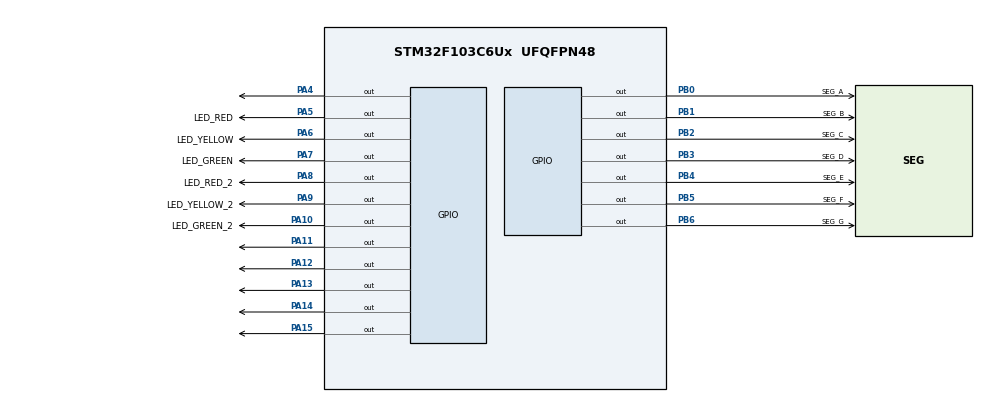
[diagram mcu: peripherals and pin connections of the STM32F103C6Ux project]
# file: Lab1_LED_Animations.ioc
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Mcu.Family=STM32F1
Mcu.Name=STM32F103C6Ux
Mcu.Package=UFQFPN48
NVIC.PriorityGroup=NVIC_PRIORITYGROUP_4
PA10.GPIO_Label=LED_GREEN_2
PA10.Signal=GPIO_Output
PA11.Signal=GPIO_Output
PA12.Signal=GPIO_Output
PA13.Signal=GPIO_Output
PA14.Signal=GPIO_Output
PA15.Signal=GPIO_Output
PA4.Signal=GPIO_Output
PA5.GPIO_Label=LED_RED
PA5.Signal=GPIO_Output
PA6.GPIO_Label=LED_YELLOW
PA6.Signal=GPIO_Output
PA7.GPIO_Label=LED_GREEN
PA7.Signal=GPIO_Output
PA8.GPIO_Label=LED_RED_2
PA8.Signal=GPIO_Output
PA9.GPIO_Label=LED_YELLOW_2
PA9.Signal=GPIO_Output
PB0.GPIO_Label=SEG_A
PB0.Signal=GPIO_Output
PB1.GPIO_Label=SEG_B
PB1.Signal=GPIO_Output
PB2.GPIO_Label=SEG_C
PB2.Signal=GPIO_Output
PB3.GPIO_Label=SEG_D
PB3.Signal=GPIO_Output
PB4.GPIO_Label=SEG_E
PB4.Signal=GPIO_Output
PB5.GPIO_Label=SEG_F
PB5.Signal=GPIO_Output
PB6.GPIO_Label=SEG_G
PB6.Signal=GPIO_Output
ProjectManager.HeapSize=0x200
ProjectManager.StackSize=0x400
ProjectManager.TargetToolchain=STM32CubeIDE
RCC.APB1Freq_Value=8000000
RCC.APB2Freq_Value=8000000
VP_SYS_VS_ND.Mode=No_Debug
board=custom

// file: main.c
/* USER CODE BEGIN Header */
/**
  ******************************************************************************
  * @file           : main.c
  * @brief          : Main program body
  ******************************************************************************
  * @attention
  *
  * <h2><center>&copy; Copyright (c) 2026 STMicroelectronics.
  * All rights reserved.</center></h2>
  *
  * This software component is licensed by ST under BSD 3-Clause license,
  * the "License"; You may not use this file except in compliance with the
  * License. You may obtain a copy of the License at:
  *                        opensource.org/licenses/BSD-3-Clause
  *
  ******************************************************************************
  */
/* USER CODE END Header */
#include "main.h"

void SystemClock_Config(void);
static void MX_GPIO_Init(void);
/* USER CODE BEGIN PFP */
void run_exercise_1(void);
void run_exercise_2(void);
void run_exercise_3(void);
void display7SEG(int num);
void run_exercise_4(void);
void set_traffic_lights(uint8_t red1, uint8_t yel1, uint8_t gre1, uint8_t red2, uint8_t yel2, uint8_t gre2);
void run_exercise_5(void);
void run_exercise_6(void);
void clearAllClock(void);
void setNumberOnClock(int num);
void clearNumberOnClock(int num);
void run_exercise_7(void);
void run_exercise_8(void);
void run_exercise_9(void);
void run_exercise_10(void);
/* USER CODE END PFP */

int main(void)
{

  /* MCU Configuration--------------------------------------------------------*/

  /* Reset of all peripherals, Initializes the Flash interface and the Systick. */
  HAL_Init();

  /* Configure the system clock */
  SystemClock_Config();

  /* Initialize all configured peripherals */
  MX_GPIO_Init();

  /* Infinite loop */
  /* USER CODE BEGIN WHILE */
  while (1)
  {
	  //run_exercise_1();
	  //run_exercise_2();
	  //run_exercise_3();
	  //run_exercise_4();
	  //run_exercise_5();
	  //run_exercise_6();
	  //run_exercise_7();
	  //run_exercise_8();
	  //run_exercise_9();
	  run_exercise_10();

    /* USER CODE END WHILE */

  }
}

void SystemClock_Config(void)
{
  RCC_OscInitTypeDef RCC_OscInitStruct = {0};
  RCC_ClkInitTypeDef RCC_ClkInitStruct = {0};

  /** Initializes the RCC Oscillators according to the specified parameters
  * in the RCC_OscInitTypeDef structure.
  */
  RCC_OscInitStruct.OscillatorType = RCC_OSCILLATORTYPE_HSI;
  RCC_OscInitStruct.HSIState = RCC_HSI_ON;
  RCC_OscInitStruct.HSICalibrationValue = RCC_HSICALIBRATION_DEFAULT;
  RCC_OscInitStruct.PLL.PLLState = RCC_PLL_NONE;
  if (HAL_RCC_OscConfig(&RCC_OscInitStruct) != HAL_OK)
  {
    Error_Handler();
  }
  /** Initializes the CPU, AHB and APB buses clocks
  */
  RCC_ClkInitStruct.ClockType = RCC_CLOCKTYPE_HCLK|RCC_CLOCKTYPE_SYSCLK
                              |RCC_CLOCKTYPE_PCLK1|RCC_CLOCKTYPE_PCLK2;
  RCC_ClkInitStruct.SYSCLKSource = RCC_SYSCLKSOURCE_HSI;
  RCC_ClkInitStruct.AHBCLKDivider = RCC_SYSCLK_DIV1;
  RCC_ClkInitStruct.APB1CLKDivider = RCC_HCLK_DIV1;
  RCC_ClkInitStruct.APB2CLKDivider = RCC_HCLK_DIV1;

  if (HAL_RCC_ClockConfig(&RCC_ClkInitStruct, FLASH_LATENCY_0) != HAL_OK)
  {
    Error_Handler();
  }
}

static void MX_GPIO_Init(void)
{
  GPIO_InitTypeDef GPIO_InitStruct = {0};

  /* GPIO Ports Clock Enable */
  __HAL_RCC_GPIOA_CLK_ENABLE();
  __HAL_RCC_GPIOB_CLK_ENABLE();

  /*Configure GPIO pin Output Level */
  HAL_GPIO_WritePin(GPIOA, GPIO_PIN_4|LED_RED_Pin|LED_YELLOW_Pin|LED_GREEN_Pin
                          |LED_RED_2_Pin|LED_YELLOW_2_Pin|LED_GREEN_2_Pin|GPIO_PIN_11
                          |GPIO_PIN_12|GPIO_PIN_13|GPIO_PIN_14|GPIO_PIN_15, GPIO_PIN_RESET);

  /*Configure GPIO pin Output Level */
  HAL_GPIO_WritePin(GPIOB, SEG_A_Pin|SEG_B_Pin|SEG_C_Pin|SEG_D_Pin
                          |SEG_E_Pin|SEG_F_Pin|SEG_G_Pin, GPIO_PIN_RESET);

  /*Configure GPIO pins : PA4 LED_RED_Pin LED_YELLOW_Pin LED_GREEN_Pin
                           LED_RED_2_Pin LED_YELLOW_2_Pin LED_GREEN_2_Pin PA11
                           PA12 PA13 PA14 PA15 */
  GPIO_InitStruct.Pin = GPIO_PIN_4|LED_RED_Pin|LED_YELLOW_Pin|LED_GREEN_Pin
                          |LED_RED_2_Pin|LED_YELLOW_2_Pin|LED_GREEN_2_Pin|GPIO_PIN_11
                          |GPIO_PIN_12|GPIO_PIN_13|GPIO_PIN_14|GPIO_PIN_15;
  GPIO_InitStruct.Mode = GPIO_MODE_OUTPUT_PP;
  GPIO_InitStruct.Pull = GPIO_NOPULL;
  GPIO_InitStruct.Speed = GPIO_SPEED_FREQ_LOW;
  HAL_GPIO_Init(GPIOA, &GPIO_InitStruct);

  /*Configure GPIO pins : SEG_A_Pin SEG_B_Pin SEG_C_Pin SEG_D_Pin
                           SEG_E_Pin SEG_F_Pin SEG_G_Pin */
  GPIO_InitStruct.Pin = SEG_A_Pin|SEG_B_Pin|SEG_C_Pin|SEG_D_Pin
                          |SEG_E_Pin|SEG_F_Pin|SEG_G_Pin;
  GPIO_InitStruct.Mode = GPIO_MODE_OUTPUT_PP;
  GPIO_InitStruct.Pull = GPIO_NOPULL;
  GPIO_InitStruct.Speed = GPIO_SPEED_FREQ_LOW;
  HAL_GPIO_Init(GPIOB, &GPIO_InitStruct);

}

/* USER CODE BEGIN 4 */
void run_exercise_1(void) {
    HAL_GPIO_WritePin(LED_RED_GPIO_Port, LED_RED_Pin, GPIO_PIN_RESET);
    HAL_GPIO_WritePin(LED_YELLOW_GPIO_Port, LED_YELLOW_Pin, GPIO_PIN_SET);
    HAL_Delay(2000);
    HAL_GPIO_WritePin(LED_RED_GPIO_Port, LED_RED_Pin, GPIO_PIN_SET);
    HAL_GPIO_WritePin(LED_YELLOW_GPIO_Port, LED_YELLOW_Pin, GPIO_PIN_RESET);
    HAL_Delay(2000);
}
void run_exercise_2(void) {
    HAL_GPIO_WritePin(LED_RED_GPIO_Port, LED_RED_Pin, GPIO_PIN_RESET);
    HAL_GPIO_WritePin(LED_YELLOW_GPIO_Port, LED_YELLOW_Pin, GPIO_PIN_SET);
    HAL_GPIO_WritePin(LED_GREEN_GPIO_Port, LED_GREEN_Pin, GPIO_PIN_SET);
    HAL_Delay(5000);

    HAL_GPIO_WritePin(LED_RED_GPIO_Port, LED_RED_Pin, GPIO_PIN_SET);
    HAL_GPIO_WritePin(LED_YELLOW_GPIO_Port, LED_YELLOW_Pin, GPIO_PIN_SET);
    HAL_GPIO_WritePin(LED_GREEN_GPIO_Port, LED_GREEN_Pin, GPIO_PIN_RESET);
    HAL_Delay(3000);

    HAL_GPIO_WritePin(LED_RED_GPIO_Port, LED_RED_Pin, GPIO_PIN_SET);
    HAL_GPIO_WritePin(LED_YELLOW_GPIO_Port, LED_YELLOW_Pin, GPIO_PIN_RESET);
    HAL_GPIO_WritePin(LED_GREEN_GPIO_Port, LED_GREEN_Pin, GPIO_PIN_SET);
    HAL_Delay(2000);
}
void run_exercise_3(void) {
    HAL_GPIO_WritePin(LED_RED_GPIO_Port, LED_RED_Pin, GPIO_PIN_RESET);
    HAL_GPIO_WritePin(LED_YELLOW_GPIO_Port, LED_YELLOW_Pin, GPIO_PIN_SET);
    HAL_GPIO_WritePin(LED_GREEN_GPIO_Port, LED_GREEN_Pin, GPIO_PIN_SET);

    HAL_GPIO_WritePin(LED_RED_2_GPIO_Port, LED_RED_2_Pin, GPIO_PIN_SET);
    HAL_GPIO_WritePin(LED_YELLOW_2_GPIO_Port, LED_YELLOW_2_Pin, GPIO_PIN_SET);
    HAL_GPIO_WritePin(LED_GREEN_2_GPIO_Port, LED_GREEN_2_Pin, GPIO_PIN_RESET);
    HAL_Delay(3000);

    HAL_GPIO_WritePin(LED_RED_GPIO_Port, LED_RED_Pin, GPIO_PIN_RESET);
    HAL_GPIO_WritePin(LED_YELLOW_GPIO_Port, LED_YELLOW_Pin, GPIO_PIN_SET);
    HAL_GPIO_WritePin(LED_GREEN_GPIO_Port, LED_GREEN_Pin, GPIO_PIN_SET);

    HAL_GPIO_WritePin(LED_RED_2_GPIO_Port, LED_RED_2_Pin, GPIO_PIN_SET);
    HAL_GPIO_WritePin(LED_YELLOW_2_GPIO_Port, LED_YELLOW_2_Pin, GPIO_PIN_RESET);
    HAL_GPIO_WritePin(LED_GREEN_2_GPIO_Port, LED_GREEN_2_Pin, GPIO_PIN_SET);
    HAL_Delay(2000);

    HAL_GPIO_WritePin(LED_RED_GPIO_Port, LED_RED_Pin, GPIO_PIN_SET);
    HAL_GPIO_WritePin(LED_YELLOW_GPIO_Port, LED_YELLOW_Pin, GPIO_PIN_SET);
    HAL_GPIO_WritePin(LED_GREEN_GPIO_Port, LED_GREEN_Pin, GPIO_PIN_RESET);

    HAL_GPIO_WritePin(LED_RED_2_GPIO_Port, LED_RED_2_Pin, GPIO_PIN_RESET);
    HAL_GPIO_WritePin(LED_YELLOW_2_GPIO_Port, LED_YELLOW_2_Pin, GPIO_PIN_SET);
    HAL_GPIO_WritePin(LED_GREEN_2_GPIO_Port, LED_GREEN_2_Pin, GPIO_PIN_SET);
    HAL_Delay(3000);

    HAL_GPIO_WritePin(LED_RED_GPIO_Port, LED_RED_Pin, GPIO_PIN_SET);
    HAL_GPIO_WritePin(LED_YELLOW_GPIO_Port, LED_YELLOW_Pin, GPIO_PIN_RESET);
    HAL_GPIO_WritePin(LED_GREEN_GPIO_Port, LED_GREEN_Pin, GPIO_PIN_SET);

    HAL_GPIO_WritePin(LED_RED_2_GPIO_Port, LED_RED_2_Pin, GPIO_PIN_RESET);
    HAL_GPIO_WritePin(LED_YELLOW_2_GPIO_Port, LED_YELLOW_2_Pin, GPIO_PIN_SET);
    HAL_GPIO_WritePin(LED_GREEN_2_GPIO_Port, LED_GREEN_2_Pin, GPIO_PIN_SET);
    HAL_Delay(2000);
}
void display7SEG(int num) {
    uint8_t seg_code[10] = {
        0x40,
        0x79,
        0x24,
        0x30,
        0x19,
        0x12,
        0x02,
        0x78,
        0x00,
        0x10
    };

    if (num >= 0 && num <= 9) {
        uint8_t pattern = seg_code[num];
        HAL_GPIO_WritePin(SEG_A_GPIO_Port, SEG_A_Pin, (pattern & 0x01) ? GPIO_PIN_SET : GPIO_PIN_RESET);
        HAL_GPIO_WritePin(SEG_B_GPIO_Port, SEG_B_Pin, (pattern & 0x02) ? GPIO_PIN_SET : GPIO_PIN_RESET);
        HAL_GPIO_WritePin(SEG_C_GPIO_Port, SEG_C_Pin, (pattern & 0x04) ? GPIO_PIN_SET : GPIO_PIN_RESET);
        HAL_GPIO_WritePin(SEG_D_GPIO_Port, SEG_D_Pin, (pattern & 0x08) ? GPIO_PIN_SET : GPIO_PIN_RESET);
        HAL_GPIO_WritePin(SEG_E_GPIO_Port, SEG_E_Pin, (pattern & 0x10) ? GPIO_PIN_SET : GPIO_PIN_RESET);
        HAL_GPIO_WritePin(SEG_F_GPIO_Port, SEG_F_Pin, (pattern & 0x20) ? GPIO_PIN_SET : GPIO_PIN_RESET);
        HAL_GPIO_WritePin(SEG_G_GPIO_Port, SEG_G_Pin, (pattern & 0x40) ? GPIO_PIN_SET : GPIO_PIN_RESET);
    }
}

void run_exercise_4(void) {
    for (int counter = 0; counter < 10; counter++) {
        display7SEG(counter);
        HAL_Delay(1000);
    }
}

void set_traffic_lights(uint8_t red1, uint8_t yel1, uint8_t gre1,
                        uint8_t red2, uint8_t yel2, uint8_t gre2) {
    HAL_GPIO_WritePin(LED_RED_GPIO_Port, LED_RED_Pin, red1 ? GPIO_PIN_RESET : GPIO_PIN_SET);
    HAL_GPIO_WritePin(LED_YELLOW_GPIO_Port, LED_YELLOW_Pin, yel1 ? GPIO_PIN_RESET : GPIO_PIN_SET);
    HAL_GPIO_WritePin(LED_GREEN_GPIO_Port, LED_GREEN_Pin, gre1 ? GPIO_PIN_RESET : GPIO_PIN_SET);

    HAL_GPIO_WritePin(LED_RED_2_GPIO_Port, LED_RED_2_Pin, red2 ? GPIO_PIN_RESET : GPIO_PIN_SET);
    HAL_GPIO_WritePin(LED_YELLOW_2_GPIO_Port, LED_YELLOW_2_Pin, yel2 ? GPIO_PIN_RESET : GPIO_PIN_SET);
    HAL_GPIO_WritePin(LED_GREEN_2_GPIO_Port, LED_GREEN_2_Pin, gre2 ? GPIO_PIN_RESET : GPIO_PIN_SET);
}

void run_exercise_5(void) {
    set_traffic_lights(1, 0, 0,  0, 0, 1);
    display7SEG(5); HAL_Delay(1000);
    display7SEG(4); HAL_Delay(1000);
    display7SEG(3); HAL_Delay(1000);

    set_traffic_lights(1, 0, 0,  0, 1, 0);
    display7SEG(2); HAL_Delay(1000);
    display7SEG(1); HAL_Delay(1000);

    set_traffic_lights(0, 0, 1,  1, 0, 0);
    display7SEG(3); HAL_Delay(1000);
    display7SEG(2); HAL_Delay(1000);
    display7SEG(1); HAL_Delay(1000);

    set_traffic_lights(0, 1, 0,  1, 0, 0);
    display7SEG(2); HAL_Delay(1000);
    display7SEG(1); HAL_Delay(1000);
}

void run_exercise_6(void) {
    uint16_t clock_pins[12] = {
        GPIO_PIN_4,
        GPIO_PIN_5,
        GPIO_PIN_6,
        GPIO_PIN_7,
        GPIO_PIN_8,
        GPIO_PIN_9,
        GPIO_PIN_10,
        GPIO_PIN_11,
        GPIO_PIN_12,
        GPIO_PIN_13,
        GPIO_PIN_14,
        GPIO_PIN_15
    };

    for (int i = 0; i < 12; i++) {
        for (int j = 0; j < 12; j++) {
            HAL_GPIO_WritePin(GPIOA, clock_pins[j], GPIO_PIN_SET);
        }

        HAL_GPIO_WritePin(GPIOA, clock_pins[i], GPIO_PIN_RESET);
        HAL_Delay(500);
        //HAL_Delay(1000);
    }
}

uint16_t clock_pins[12] = {
    GPIO_PIN_4,
    GPIO_PIN_5,
    GPIO_PIN_6,
    GPIO_PIN_7,
    GPIO_PIN_8,
    GPIO_PIN_9,
    GPIO_PIN_10,
    GPIO_PIN_11,
    GPIO_PIN_12,
    GPIO_PIN_13,
    GPIO_PIN_14,
    GPIO_PIN_15
};

void clearAllClock(void) {
    for (int i = 0; i < 12; i++) {
        HAL_GPIO_WritePin(GPIOA, clock_pins[i], GPIO_PIN_SET);
    }
}

void run_exercise_7(void) {
    clearAllClock();
    HAL_Delay(1000);
}

/*
void run_exercise_7(void) {
    for (int i = 0; i < 12; i++) {
        HAL_GPIO_WritePin(GPIOA, clock_pins[i], GPIO_PIN_RESET);
    }
    HAL_Delay(1000);

    clearAllClock();
    HAL_Delay(1000);
}
*/

void setNumberOnClock(int num) {
    if (num >= 0 && num < 12) {
        HAL_GPIO_WritePin(GPIOA, clock_pins[num], GPIO_PIN_RESET);
    }
}

//Đối số setNumberOnClock(3);
void run_exercise_8(void) {
    clearAllClock();
    setNumberOnClock(3);
    HAL_Delay(1000);
}

/*
 void run_exercise_8(void) {
    clearAllClock();
    HAL_Delay(500);

    for (int i = 0; i < 12; i++) {
        setNumberOnClock(i);
        HAL_Delay(300);
    }
    HAL_Delay(1000);
}
 */

void clearNumberOnClock(int num) {
    if (num >= 0 && num < 12) {
        HAL_GPIO_WritePin(GPIOA, clock_pins[num], GPIO_PIN_SET);
    }
}

//Đổi số clearNumberOnClock(3);
void run_exercise_9(void) {
    for (int i = 0; i < 12; i++) setNumberOnClock(i);
    HAL_Delay(1000);
    clearNumberOnClock(3);
    HAL_Delay(1000);
}

/*
void run_exercise_9(void) {
    for (int i = 0; i < 12; i++) {
        setNumberOnClock(i);
    }
    HAL_Delay(1000);

    for (int i = 0; i < 12; i++) {
        clearNumberOnClock(i);
        HAL_Delay(300);
    }
    HAL_Delay(1000);
}
 */

void run_exercise_10(void) {
    //Chỉnh lại chỗ thời gian
    static int hour = 11;
    static int minute = 59;
    static int second = 50;

    clearAllClock();

    int hour_pos = hour % 12;
    int minute_pos = (minute / 5) % 12;
    int second_pos = (second / 5) % 12;

    setNumberOnClock(hour_pos);
    setNumberOnClock(minute_pos);
    setNumberOnClock(second_pos);

    //HAL_Delay(1000);
    HAL_Delay(50);

    second++;
    if (second >= 60) {
        second = 0;
        minute++;
        if (minute >= 60) {
            minute = 0;
            hour++;
            if (hour >= 24) {
                hour = 0;
            }
        }
    }
}

/* USER CODE END 4 */

void Error_Handler(void)
{
  __disable_irq();
  while (1)
  {
  }
}

/************************ (C) COPYRIGHT STMicroelectronics *****END OF FILE****/
